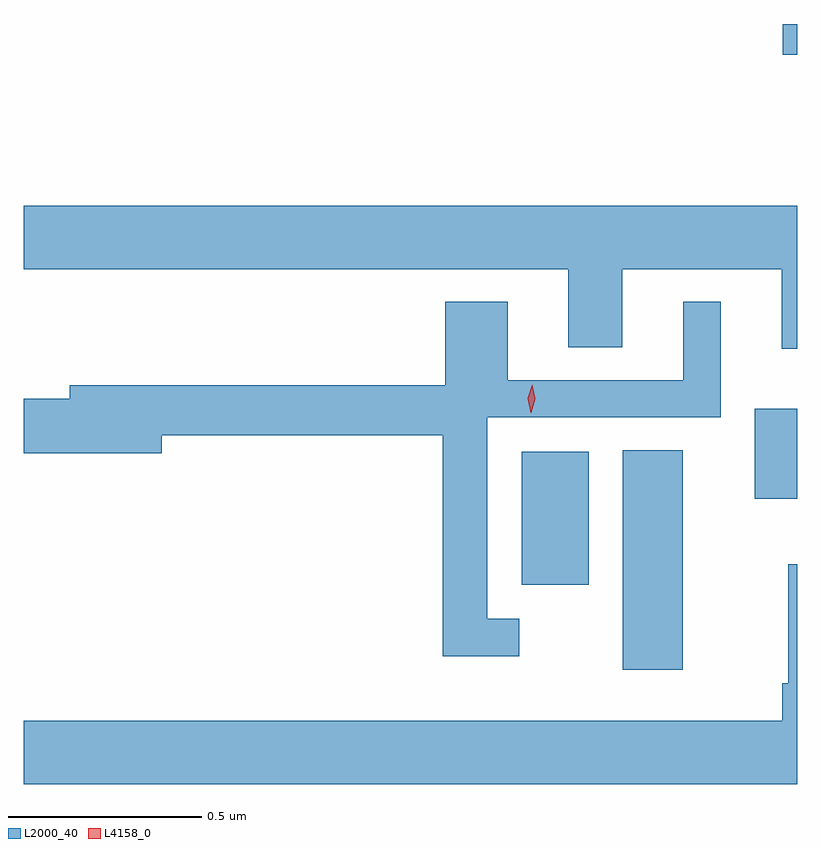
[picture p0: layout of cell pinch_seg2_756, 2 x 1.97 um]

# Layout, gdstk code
import gdstk
lib = gdstk.Library(unit=1e-6, precision=1e-09)
def R(c, l, rs):  # rectangles x0, y0, x1, y1
    for r in rs: c.add(gdstk.rectangle(r[:2], r[2:], *l))
def P(c, l, *ps):  # polygons
    for p in ps: c.add(gdstk.Polygon(p, *l))
L2000_40 = (2000, 40)
L4158_0 = (4158, 0)

pinch_seg2_756 = lib.new_cell('pinch_seg2_756')
R(pinch_seg2_756, L2000_40, [(865.106,631.947,865.261,632.516), (864.845,632.168,865.018,632.512), (865.448,632.39,865.557,632.623), (865.52,633.539,865.557,633.618)])
P(pinch_seg2_756, L2000_40, [(865.557,633.148),(863.557,633.148),(863.557,632.984),(864.965,632.984),(864.965,632.782),(865.105,632.782),(865.105,632.984),(865.517,632.984),(865.517,632.778),(865.557,632.778)],
  [(864.838,632.079),(864.756,632.079),(864.756,632.601),(865.36,632.601),(865.36,632.899),(865.262,632.899),(865.262,632.697),(864.808,632.697),(864.808,632.899),(864.647,632.899),(864.647,632.683),(863.675,632.683),(863.675,632.649),(863.557,632.649),(863.557,632.507),(863.914,632.507),(863.914,632.554),(864.64,632.554),(864.64,631.982),(864.838,631.982)],
  [(865.557,632.221),(865.534,632.221),(865.534,631.912),(865.519,631.912),(865.519,631.816),(863.557,631.816),(863.557,631.652),(865.557,631.652)])
P(pinch_seg2_756, L4158_0, [(864.868,632.613),(864.868,632.613),(864.86,632.65),(864.872,632.685),(864.872,632.685),(864.872,632.685),(864.88,632.649),(864.869,632.613)])

lib.write_gds('pinch_seg2_756.gds')
